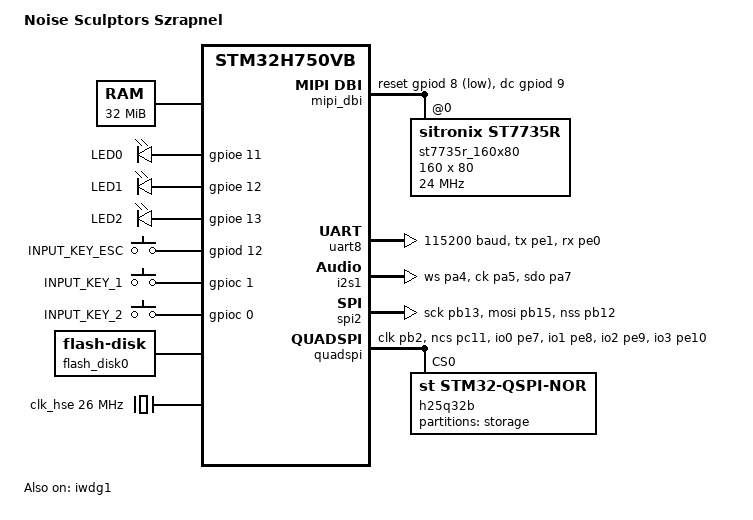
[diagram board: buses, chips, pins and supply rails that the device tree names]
/*
 * Copyright (c) 2026, Kresimir Popovic
 *
 * SPDX-License-Identifier: Apache-2.0
 */

/dts-v1/;
#include <st/h7/stm32h750Xb.dtsi>
#include <st/h7/stm32h750vbtx-pinctrl.dtsi>
#include <zephyr/dt-bindings/input/input-event-codes.h>

/ {
	model = "Noise Sculptors Szrapnel";
	compatible = "st,stm32h750vb";

	chosen {
		zephyr,console = &uart8;
		zephyr,shell-uart = &uart8;
		zephyr,sram = &sram0;
		zephyr,flash = &flash0;
		zephyr,flash-controller = &h25q32b;
        zephyr,flash-disk = &flash_disk0;
        zephyr,display = &st7735r_160x80;
	};

    /* needs -DCONFIG_STM32_MEMMAP=y */
	ext_memory: memory@90000000 {
		compatible = "zephyr,memory-region";
		reg = <0x90000000 DT_SIZE_M(32)>;
		zephyr,memory-region = "EXTMEM";
		zephyr,memory-attr = <DT_MEM_ARM(ATTR_MPU_IO)>;
	};

	leds {
		compatible = "gpio-leds";

		led_A: led_0 {
			gpios = <&gpioe 11 GPIO_ACTIVE_HIGH>;
			label = "LED0";
		};

		led_B: led_1 {
			gpios = <&gpioe 12 GPIO_ACTIVE_HIGH>;
			label = "LED1";
		};

		led_C: led_2 {
			gpios = <&gpioe 13 GPIO_ACTIVE_HIGH>;
			label = "LED2";
		};

	};

	mipi_dbi {
		compatible = "zephyr,mipi-dbi-spi";
		spi-dev = <&spi2>;
		reset-gpios = <&gpiod 8 GPIO_ACTIVE_LOW>;
		dc-gpios = <&gpiod 9 GPIO_ACTIVE_HIGH>;
		#address-cells = <1>;
		#size-cells = <0>;
		write-only;
		status = "okay";

		st7735r_160x80: st7735r@0 {
			compatible = "sitronix,st7735r";
			mipi-max-frequency = <24000000>;
			mipi-mode = "MIPI_DBI_MODE_SPI_4WIRE";
			reg = <0>;
			width = <160>;
			height = <80>;
			x-offset = <0>;
			y-offset = <24>;
			madctl = <0x68>;
			colmod = <0x05>;
			invctr = <7>;
			vmctr1 = <0x0e>;
			pwctr1 = [a2 02 84];
			pwctr2 = [c1];
			pwctr3 = [0a 00];
			pwctr4 = [8a 2a];
			pwctr5 = [8a ee];
			frmctr1 = [01 26 2e];
			frmctr2 = [01 26 2e];
			frmctr3 = [01 26 2e 01 26 2e];
			gamctrp1 = [0f 1a 0f 18 2f 28 20 22 1f 1b 23 37 00 07 02 10];
			gamctrn1 = [0f 1b 0f 17 33 2c 29 2e 30 2e 30 3b 00 07 03 10];
			caset = [00 01 00 a0];
			raset = [00 1a 00 69];
		};
	};

	gpio_keys {
		compatible = "gpio-keys";
        /*
        6x5 buttons
        gpiod 13 | gpioc  8 | gpiob 10 | gpiob  4 | gpioc 13 | gpioc 15 |
        gpiod 14 | gpioc  9 | gpioe 15 | gpioc  4 | gpioe  4 | gpioc 14 |
        gpiod 15 | gpioa  8 | gpiob 11 | gpioc  5 | gpiod  7 | gpioe  6 |
        gpioc  6 | gpioa 10 | gpioc 10 | gpiob  0 | gpiob  3 | gpioe  5 |
        gpioc  7 | gpioa  9 | gpioa 15 | gpiob  1 | gpiod  6 | gpioe  3 |
        */

        /* zephyr/dt-bindings/input/input-event-codes.h */
        /* left button */
        button_1{gpios=<&gpiod 12 GPIO_ACTIVE_HIGH>;zephyr,code=<1>;label="INPUT_KEY_ESC";};
        /* right buttons */
        button_2{gpios=<&gpioc  1 GPIO_ACTIVE_HIGH>;zephyr,code=<2>;label="INPUT_KEY_1";};
        button_3{gpios=<&gpioc  0 GPIO_ACTIVE_HIGH>;zephyr,code=<3>;label="INPUT_KEY_2";};
    };


    flash_disk0: flash_disk {
        compatible = "zephyr,flash-disk";
        partition = <&storage_partition>;
        disk-name = "FLASH";
        cache-size = <4096>;
    };

    /*
    audio_codec: dummy_codec {
		compatible = "audio-codec-dummy";
		status = "okay";
	};
    */

	aliases {
		led0 = &led_A;
		led1 = &led_B;
		led2 = &led_C;
        i2s-tx = &i2s1;
		spi-flash0 = &h25q32b;
		watchdog0 = &iwdg;
	};
};

&pll {
	div-m = <13>;
	mul-n = <240>;
	div-p = <1>;
	div-q = <10>;
	div-r = <2>;
	clocks = <&clk_hse>;
	status = "okay";
};

&pll2 {
	div-m = <16>;
	mul-n = <121>;
	div-p = <2>;
	div-q = <8>;
	div-r = <8>;
	clocks = <&clk_hse>;
	status = "okay";
};
/*
*/

/* max:
 SYSCLK 480MHz
 AHB 240MHz
 APBx 120MHz */
&rcc {
	clocks = <&pll>;
	clock-frequency = <DT_FREQ_M(480)>;
	d1cpre = <1>;
	hpre = <2>;
	d1ppre = <2>;
	d2ppre1 = <2>;
	d2ppre2 = <2>;
	d3ppre = <2>;
};

&clk_hse {
	clock-frequency = <DT_FREQ_M(26)>;
    status = "okay";
};

&uart8 {
	pinctrl-0 = <&uart8_tx_pe1 &uart8_rx_pe0>;
	pinctrl-names = "default";
	current-speed = <115200>;
	status = "okay";
};

&iwdg1 {
	status = "okay";
};

&dma1 {
    status = "okay";
};

&dmamux1 {
    status = "okay";
};

&i2s1 {
	pinctrl-0 = <&i2s1_ws_pa4 &i2s1_ck_pa5 &i2s1_sdo_pa7>;
	pinctrl-names = "default";
    clocks = <&rcc STM32_CLOCK(APB2, 12)>, <&rcc STM32_SRC_PLL2_P SPI123_SEL(0)>;
    status = "okay";
};

&pwr {
	power-supply = "ldo";
};

&spi2 {
    pinctrl-0 = <&spi2_sck_pb13 &spi2_mosi_pb15 &spi2_nss_pb12>;
    pinctrl-names = "default";
    status = "okay";
};

&quadspi_clk_pb2      { slew-rate = "medium-speed"; };
&quadspi_bk2_ncs_pc11 { slew-rate = "medium-speed"; };
&quadspi_bk2_io0_pe7  { slew-rate = "medium-speed"; };
&quadspi_bk2_io1_pe8  { slew-rate = "medium-speed"; };
&quadspi_bk2_io2_pe9  { slew-rate = "medium-speed"; };
&quadspi_bk2_io3_pe10 { slew-rate = "medium-speed"; };

&quadspi {
	pinctrl-0 = <&quadspi_clk_pb2 &quadspi_bk2_ncs_pc11
		     &quadspi_bk2_io0_pe7 &quadspi_bk2_io1_pe8
		     &quadspi_bk2_io2_pe9 &quadspi_bk2_io3_pe10>;

	pinctrl-names = "default";
    flash-id = <2>;
	status = "okay";

	h25q32b: qspi-nor-flash@0 {
		compatible = "st,stm32-qspi-nor";
		reg = <0>;
        size = <DT_SIZE_M(32)>; /* 32 Mbit */
        qspi-max-frequency = <133000000>; /* max allowed, speed: ~48.8MiBps */
        // qspi-max-frequency = <80000000>; /* speed: ~34.3MiBps */
        spi-bus-width = <4>;
		cs-high-time = <4>;
        writeoc = "PP_1_4_4"; /* do not remove */
		status = "okay";

		partitions {
			compatible = "fixed-partitions";
			#address-cells = <1>;
			#size-cells = <1>;
			storage_partition: partition@0 {
				label = "storage";
				reg = <0x0 DT_SIZE_M(4)>; /* 4MB, 32 Mbit */
			};
		};
	};
};

